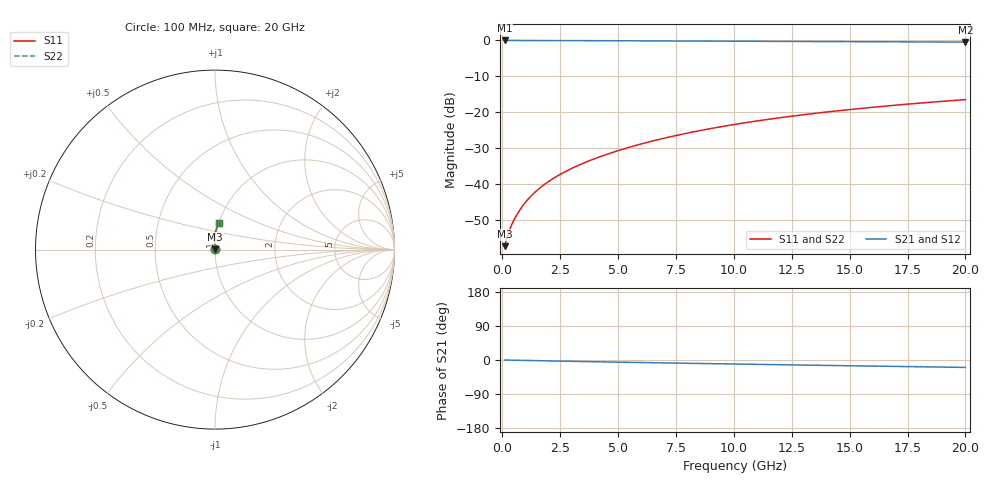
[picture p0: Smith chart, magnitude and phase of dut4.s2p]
! Touchstone file exported from HFSS 2024.1.0
!  File:  C:/UserFiles/LocalFiles/RDL_TSV_Batchsim/temp_RDL_bottom_4_1778690980.aedt
!  Generated:  12:52:14 AM May 14, 2026
!  Design:  RDL_bottom
!  Project:  temp_RDL_bottom_4_1778690980
!  Setup:  Setup1
!  Solution:  Sweep
! Variables:
!  dtsv = 10.80580581um
!  hbump = 3um
!  htsv = 79.47um
!  ldown = 307.42um
!  lrdl = 100um
!  p = 40
!  p1 = 41.59um
!  rhole = 1um
!  t = 450um
!  tdown = 4.23um
!  trdl = 3.915915916um
!  wdown = 26.47um
!  wrdl = 20um
# GHz S MA R 50.000000
! Terminal data exported
! Port[1] = RDL1_T1
! Port[2] = RDL1_T2
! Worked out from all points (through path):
!   200 points, 100 MHz to 20 GHz, reference 50 ohm
!   highest |S21| = -0.01 dB at 100 MHz (marker M1); lowest = -0.5 dB at 20 GHz (marker M2)
!   group delay of S21, straight-line fit = 2.68 ps
!   lowest |S11| = -57.2 dB at 100 MHz (marker M3), VSWR 1.00, Z = 50.1 + j0.068 ohm
!   |S11| at or under -10 dB: start of sweep to end of sweep
!   |S22| runs from -57.2 to -16.5 dB; largest |S21 - S12| = 3.5e-15
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0.1  0.001373 29.6  0.9988 -0.1  0.9988 -0.1  0.001373 29.6
! Gamma 0 0 0 0
! Port Impedance 50 0 50 0
0.2  0.001807 44.2  0.9987 -0.2  0.9987 -0.2  0.001807 44.2
0.3  0.002247 52.6  0.9986 -0.4  0.9986 -0.4  0.002247 52.6
0.5  0.003148 63.4  0.9984 -0.6  0.9984 -0.6  0.003148 63.4
0.6  0.003618 67.1  0.9983 -0.7  0.9983 -0.7  0.003618 67.1
0.8  0.004592 72.5  0.9981 -1.0  0.9981 -1.0  0.004592 72.5
1  0.005599 76.2  0.9979 -1.2  0.9979 -1.2  0.005599 76.2
1.2  0.006629 79.0  0.9977 -1.4  0.9977 -1.4  0.006629 79.0
1.4  0.007677 81.1  0.9975 -1.7  0.9975 -1.7  0.007677 81.1
1.7  0.009277 83.5  0.9971 -2.0  0.9971 -2.0  0.009278 83.6
2.2  0.01202 86.5  0.9962 -2.6  0.9962 -2.6  0.01202 86.5
2.8  0.01543 88.9  0.995 -3.3  0.995 -3.3  0.01543 88.9
3.5  0.01959 91.0  0.9933 -4.1  0.9933 -4.1  0.01959 91.0
4.2  0.02399 92.4  0.9914 -4.8  0.9914 -4.8  0.02399 92.4
5  0.02928 93.4  0.989 -5.7  0.989 -5.7  0.02929 93.5
6.8  0.0422 94.2  0.9832 -7.5  0.9832 -7.5  0.04221 94.3
8.4  0.0546 93.7  0.9781 -9.1  0.9781 -9.1  0.05461 93.7
10.1  0.06837 92.4  0.9729 -10.7  0.9729 -10.7  0.06838 92.4
11.7  0.08163 90.8  0.9682 -12.2  0.9682 -12.2  0.08165 90.8
13.4  0.09585 88.9  0.9635 -13.7  0.9635 -13.7  0.09587 88.9
16.7  0.1233 84.9  0.9552 -16.7  0.9552 -16.7  0.1233 84.9
20  0.1501 81.0  0.9473 -19.6  0.9473 -19.6  0.1502 81.0
